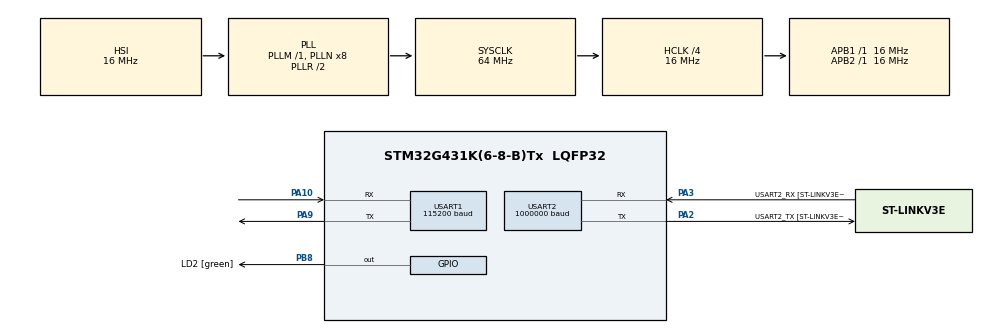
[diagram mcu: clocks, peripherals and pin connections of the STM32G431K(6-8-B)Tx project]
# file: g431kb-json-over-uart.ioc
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Dma.Request0=USART2_TX
Dma.USART2_TX.0.Direction=DMA_MEMORY_TO_PERIPH
Dma.USART2_TX.0.EventEnable=DISABLE
Dma.USART2_TX.0.Instance=DMA1_Channel1
Dma.USART2_TX.0.MemDataAlignment=DMA_MDATAALIGN_BYTE
Dma.USART2_TX.0.MemInc=DMA_MINC_ENABLE
Dma.USART2_TX.0.Mode=DMA_NORMAL
Dma.USART2_TX.0.PeriphDataAlignment=DMA_PDATAALIGN_BYTE
Dma.USART2_TX.0.PeriphInc=DMA_PINC_DISABLE
Dma.USART2_TX.0.Polarity=HAL_DMAMUX_REQ_GEN_RISING
Dma.USART2_TX.0.Priority=DMA_PRIORITY_LOW
Dma.USART2_TX.0.RequestNumber=1
Dma.USART2_TX.0.SignalID=NONE
Dma.USART2_TX.0.SyncEnable=DISABLE
Dma.USART2_TX.0.SyncPolarity=HAL_DMAMUX_SYNC_NO_EVENT
Dma.USART2_TX.0.SyncRequestNumber=1
Dma.USART2_TX.0.SyncSignalID=NONE
Mcu.Family=STM32G4
Mcu.Name=STM32G431K(6-8-B)Tx
Mcu.Package=LQFP32
NVIC.DMA1_Channel1_IRQn=true\:0\:0\:false\:false\:true\:false\:true\:true
NVIC.PriorityGroup=NVIC_PRIORITYGROUP_4
NVIC.USART1_IRQn=true\:0\:0\:false\:false\:true\:true\:true\:true
NVIC.USART2_IRQn=true\:0\:0\:false\:false\:true\:true\:true\:true
PA10.Mode=Asynchronous
PA10.Signal=USART1_RX
PA13.GPIO_Label=T_SWDIO
PA13.Mode=Serial_Wire
PA13.Signal=SYS_JTMS-SWDIO
PA14.GPIO_Label=T_SWCLK
PA14.Mode=Serial_Wire
PA14.Signal=SYS_JTCK-SWCLK
PA2.GPIO_Label=USART2_TX [ST-LINKV3E_VCP_RX]
PA2.Mode=Asynchronous
PA2.Signal=USART2_TX
PA3.GPIO_Label=USART2_RX [ST-LINKV3E_VCP_TX]
PA3.Mode=Asynchronous
PA3.Signal=USART2_RX
PA9.Mode=Asynchronous
PA9.Signal=USART1_TX
PB3.GPIO_Label=T_SWO
PB3.Signal=SYS_JTDO-SWO
PB8-BOOT0.GPIO_Label=LD2 [green]
PB8-BOOT0.Signal=GPIO_Output
ProjectManager.HeapSize=0x400
ProjectManager.StackSize=0x400
ProjectManager.TargetToolchain=STM32CubeIDE
RCC.ADC12Freq_Value=64000000
RCC.AHBCLKDivider=RCC_SYSCLK_DIV4
RCC.AHBFreq_Value=16000000
RCC.APB1Freq_Value=16000000
RCC.APB1TimFreq_Value=16000000
RCC.APB2Freq_Value=16000000
RCC.APB2TimFreq_Value=16000000
RCC.CortexFreq_Value=16000000
RCC.EXTERNAL_CLOCK_VALUE=12288000
RCC.HCLKFreq_Value=16000000
RCC.HSE_VALUE=8000000
RCC.HSI48_VALUE=48000000
RCC.HSI_VALUE=16000000
RCC.LSE_VALUE=32768
RCC.SYSCLKFreq_VALUE=64000000
RCC.SYSCLKSource=RCC_SYSCLKSOURCE_PLLCLK
RCC.USBFreq_Value=64000000
RCC.VCOOutputFreq_Value=128000000
USART1.BaudRate=115200
USART1.VirtualMode-Asynchronous=VM_ASYNC
USART2.BaudRate=1000000
USART2.VirtualMode-Asynchronous=VM_ASYNC
USART2.WordLength=WORDLENGTH_8B
board=NUCLEO-G431KB

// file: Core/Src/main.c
/* USER CODE BEGIN Header */
/**
  ******************************************************************************
  * @file           : main.c
  * @brief          : Main program body
  ******************************************************************************
  * @attention
  *
  * Copyright (c) 2024 STMicroelectronics.
  * All rights reserved.
  *
  * This software is licensed under terms that can be found in the LICENSE file
  * in the root directory of this software component.
  * If no LICENSE file comes with this software, it is provided AS-IS.
  *
  ******************************************************************************
  */
/* USER CODE END Header */
#include "main.h"

/* USER CODE BEGIN Includes */
#include <string.h>
#include <stdio.h>
#include <stdlib.h>

#include "cJSON.h"
/* USER CODE END Includes */

UART_HandleTypeDef huart1;
UART_HandleTypeDef huart2;
DMA_HandleTypeDef hdma_usart2_tx;

/* USER CODE BEGIN PV */
uint32_t It = 0;
static uint8_t flagRx = 0, flagTx = 0;
char RxArr[512] = {0};

double Ax, Ay, Az, Temp;
/* USER CODE END PV */

void SystemClock_Config(void);
static void MX_GPIO_Init(void);
static void MX_DMA_Init(void);
static void MX_USART2_UART_Init(void);
static void MX_USART1_UART_Init(void);

/* USER CODE BEGIN 0 */

void _trigger_rx(uint32_t pos){
	HAL_UART_Receive_IT(&huart1, (uint8_t*)&RxArr[pos], 1);
}

void _led_on(){
	HAL_GPIO_WritePin(LD2_GPIO_Port, LD2_Pin, GPIO_PIN_SET);
}

void _led_off(){
	HAL_GPIO_WritePin(LD2_GPIO_Port, LD2_Pin, GPIO_PIN_RESET);
}

void _get_accel(cJSON *json, double *x, double *y, double *z, double *temp){
	cJSON *SensorData, *Accel;

	SensorData = cJSON_GetObjectItemCaseSensitive(json, "Sensor Data");
	if (SensorData == NULL){
		Error_Handler();
	}

	*temp = cJSON_GetNumberValue(cJSON_GetObjectItem(SensorData, "Temp"));

	Accel = cJSON_GetObjectItemCaseSensitive(SensorData, "accelerometer");
	if (Accel == NULL){
		Error_Handler();
	}

	*x = cJSON_GetNumberValue(cJSON_GetObjectItem(Accel, "x"));
	*y = cJSON_GetNumberValue(cJSON_GetObjectItem(Accel, "y"));
	*z = cJSON_GetNumberValue(cJSON_GetObjectItem(Accel, "z"));
}

/* callbacks */

void HAL_UART_RxCpltCallback(UART_HandleTypeDef *huart){
	if (huart->Instance == USART1){
		if (RxArr[It] == '\0'){
			flagRx = 1;
			It = 0;
		}
		else{
			It++;
			_trigger_rx(It);
		}
	}
}

void HAL_UART_TxCpltCallback(UART_HandleTypeDef *huart){
	if (huart->Instance == USART2){
		flagTx = 1;
	}
}

/* regular */
void _send_start_json(){
	cJSON *json;

	json = cJSON_CreateObject();

	cJSON_AddStringToObject(json, "Project Name", "G431KB Json Over Uart");
	cJSON_AddStringToObject(json, "Engineer", "Pablo Jean Rozario");
	cJSON_AddNumberToObject(json, "Version", 1);

	cJSON *arr = cJSON_CreateArray();
	cJSON_AddItemToObject(json, "Microcontrollers", arr);

	cJSON *micro;
	micro = cJSON_CreateString("STM32G431KB");
	cJSON_AddItemToArray(arr, micro);
	micro = cJSON_CreateString("STM32F411CE");
	cJSON_AddItemToArray(arr, micro);
	micro = cJSON_CreateString("STM32F103C8");
	cJSON_AddItemToArray(arr, micro);

	char *string = cJSON_PrintUnformatted(json);
	HAL_UART_Transmit(&huart2, (uint8_t*)string, strlen(string), 100);

	free(string);
	cJSON_Delete(json);
}
/* USER CODE END 0 */

int main(void)
{
  /* USER CODE BEGIN 1 */
	cJSON *MpuRec;
	uint8_t Terminate[] = "\r\n\r\n";
  /* USER CODE END 1 */

  /* MCU Configuration--------------------------------------------------------*/

  /* Reset of all peripherals, Initializes the Flash interface and the Systick. */
  HAL_Init();

  /* Configure the system clock */
  SystemClock_Config();

  /* Initialize all configured peripherals */
  MX_GPIO_Init();
  MX_DMA_Init();
  MX_USART2_UART_Init();
  MX_USART1_UART_Init();
  /* USER CODE BEGIN 2 */
  _send_start_json();

  _trigger_rx(0);
  /* USER CODE END 2 */

  /* Infinite loop */
  /* USER CODE BEGIN WHILE */
  while (1)
  {
	  if (flagRx == 1){
		  _led_on();

		  MpuRec = cJSON_Parse(RxArr);
		  _get_accel(MpuRec, &Ax, &Ay, &Az, &Temp);

		  char *string = cJSON_Print(MpuRec);

		  flagTx = 0;
		  HAL_UART_Transmit_DMA(&huart2, (uint8_t*)string, strlen(string));
		  while (flagTx == 0);

		  HAL_UART_Transmit(&huart2, Terminate, sizeof(Terminate), 10);

		  free(string);
		  cJSON_Delete(MpuRec);

		  _led_off();
		  _trigger_rx(0);
		  flagRx = 0;
	  }
    /* USER CODE END WHILE */

  }
}

void SystemClock_Config(void)
{
  RCC_OscInitTypeDef RCC_OscInitStruct = {0};
  RCC_ClkInitTypeDef RCC_ClkInitStruct = {0};

  /** Configure the main internal regulator output voltage
  */
  HAL_PWREx_ControlVoltageScaling(PWR_REGULATOR_VOLTAGE_SCALE1);

  /** Initializes the RCC Oscillators according to the specified parameters
  * in the RCC_OscInitTypeDef structure.
  */
  RCC_OscInitStruct.OscillatorType = RCC_OSCILLATORTYPE_HSI;
  RCC_OscInitStruct.HSIState = RCC_HSI_ON;
  RCC_OscInitStruct.HSICalibrationValue = RCC_HSICALIBRATION_DEFAULT;
  RCC_OscInitStruct.PLL.PLLState = RCC_PLL_ON;
  RCC_OscInitStruct.PLL.PLLSource = RCC_PLLSOURCE_HSI;
  RCC_OscInitStruct.PLL.PLLM = RCC_PLLM_DIV1;
  RCC_OscInitStruct.PLL.PLLN = 8;
  RCC_OscInitStruct.PLL.PLLP = RCC_PLLP_DIV2;
  RCC_OscInitStruct.PLL.PLLQ = RCC_PLLQ_DIV2;
  RCC_OscInitStruct.PLL.PLLR = RCC_PLLR_DIV2;
  if (HAL_RCC_OscConfig(&RCC_OscInitStruct) != HAL_OK)
  {
    Error_Handler();
  }

  /** Initializes the CPU, AHB and APB buses clocks
  */
  RCC_ClkInitStruct.ClockType = RCC_CLOCKTYPE_HCLK|RCC_CLOCKTYPE_SYSCLK
                              |RCC_CLOCKTYPE_PCLK1|RCC_CLOCKTYPE_PCLK2;
  RCC_ClkInitStruct.SYSCLKSource = RCC_SYSCLKSOURCE_PLLCLK;
  RCC_ClkInitStruct.AHBCLKDivider = RCC_SYSCLK_DIV4;
  RCC_ClkInitStruct.APB1CLKDivider = RCC_HCLK_DIV1;
  RCC_ClkInitStruct.APB2CLKDivider = RCC_HCLK_DIV1;

  if (HAL_RCC_ClockConfig(&RCC_ClkInitStruct, FLASH_LATENCY_0) != HAL_OK)
  {
    Error_Handler();
  }
}

static void MX_USART1_UART_Init(void)
{

  huart1.Instance = USART1;
  huart1.Init.BaudRate = 115200;
  huart1.Init.WordLength = UART_WORDLENGTH_8B;
  huart1.Init.StopBits = UART_STOPBITS_1;
  huart1.Init.Parity = UART_PARITY_NONE;
  huart1.Init.Mode = UART_MODE_TX_RX;
  huart1.Init.HwFlowCtl = UART_HWCONTROL_NONE;
  huart1.Init.OverSampling = UART_OVERSAMPLING_16;
  huart1.Init.OneBitSampling = UART_ONE_BIT_SAMPLE_DISABLE;
  huart1.Init.ClockPrescaler = UART_PRESCALER_DIV1;
  huart1.AdvancedInit.AdvFeatureInit = UART_ADVFEATURE_NO_INIT;
  if (HAL_UART_Init(&huart1) != HAL_OK)
  {
    Error_Handler();
  }
  if (HAL_UARTEx_SetTxFifoThreshold(&huart1, UART_TXFIFO_THRESHOLD_1_8) != HAL_OK)
  {
    Error_Handler();
  }
  if (HAL_UARTEx_SetRxFifoThreshold(&huart1, UART_RXFIFO_THRESHOLD_1_8) != HAL_OK)
  {
    Error_Handler();
  }
  if (HAL_UARTEx_DisableFifoMode(&huart1) != HAL_OK)
  {
    Error_Handler();
  }

}

static void MX_USART2_UART_Init(void)
{

  huart2.Instance = USART2;
  huart2.Init.BaudRate = 1000000;
  huart2.Init.WordLength = UART_WORDLENGTH_8B;
  huart2.Init.StopBits = UART_STOPBITS_1;
  huart2.Init.Parity = UART_PARITY_NONE;
  huart2.Init.Mode = UART_MODE_TX_RX;
  huart2.Init.HwFlowCtl = UART_HWCONTROL_NONE;
  huart2.Init.OverSampling = UART_OVERSAMPLING_16;
  huart2.Init.OneBitSampling = UART_ONE_BIT_SAMPLE_DISABLE;
  huart2.Init.ClockPrescaler = UART_PRESCALER_DIV1;
  huart2.AdvancedInit.AdvFeatureInit = UART_ADVFEATURE_NO_INIT;
  if (HAL_UART_Init(&huart2) != HAL_OK)
  {
    Error_Handler();
  }
  if (HAL_UARTEx_SetTxFifoThreshold(&huart2, UART_TXFIFO_THRESHOLD_1_8) != HAL_OK)
  {
    Error_Handler();
  }
  if (HAL_UARTEx_SetRxFifoThreshold(&huart2, UART_RXFIFO_THRESHOLD_1_8) != HAL_OK)
  {
    Error_Handler();
  }
  if (HAL_UARTEx_DisableFifoMode(&huart2) != HAL_OK)
  {
    Error_Handler();
  }

}

static void MX_DMA_Init(void)
{

  /* DMA controller clock enable */
  __HAL_RCC_DMAMUX1_CLK_ENABLE();
  __HAL_RCC_DMA1_CLK_ENABLE();

  /* DMA interrupt init */
  /* DMA1_Channel1_IRQn interrupt configuration */
  HAL_NVIC_SetPriority(DMA1_Channel1_IRQn, 0, 0);
  HAL_NVIC_EnableIRQ(DMA1_Channel1_IRQn);

}

static void MX_GPIO_Init(void)
{
  GPIO_InitTypeDef GPIO_InitStruct = {0};

  /* GPIO Ports Clock Enable */
  __HAL_RCC_GPIOA_CLK_ENABLE();
  __HAL_RCC_GPIOB_CLK_ENABLE();

  /*Configure GPIO pin Output Level */
  HAL_GPIO_WritePin(LD2_GPIO_Port, LD2_Pin, GPIO_PIN_RESET);

  /*Configure GPIO pin : LD2_Pin */
  GPIO_InitStruct.Pin = LD2_Pin;
  GPIO_InitStruct.Mode = GPIO_MODE_OUTPUT_PP;
  GPIO_InitStruct.Pull = GPIO_NOPULL;
  GPIO_InitStruct.Speed = GPIO_SPEED_FREQ_LOW;
  HAL_GPIO_Init(LD2_GPIO_Port, &GPIO_InitStruct);

}

void Error_Handler(void)
{
  __disable_irq();
  while (1)
  {
  }
}
